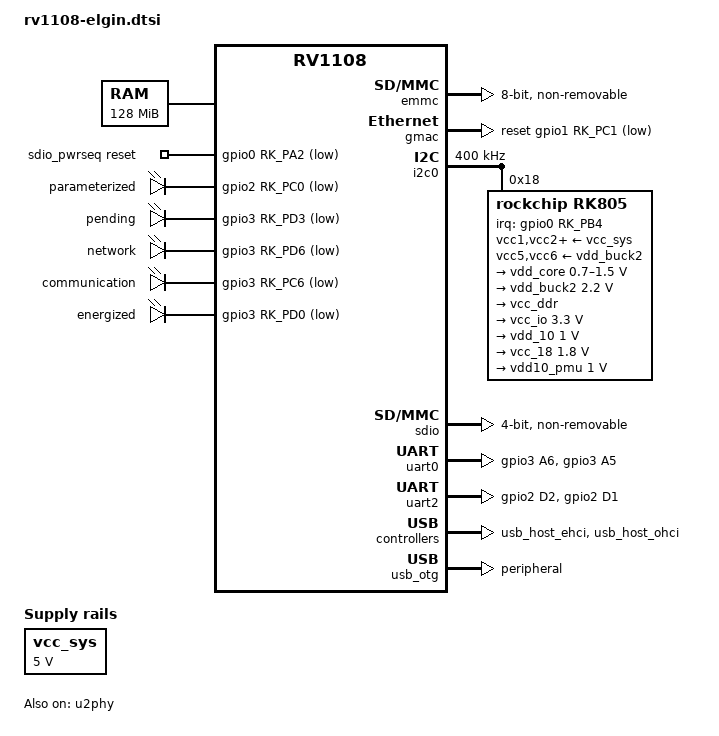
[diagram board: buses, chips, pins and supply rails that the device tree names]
// SPDX-License-Identifier: (GPL-2.0+ OR MIT)

/*
 * Copyright (C) 2018 O.S. Systems Software LTDA.
 */

/dts-v1/;

#include "rv1108.dtsi"

/ {
	memory@60000000 {
		device_type = "memory";
		reg = <0x60000000 0x08000000>;
	};

	aliases {
		mmc0 = &emmc;
		mmc1 = &sdio;
	};

	chosen {
		stdout-path = "serial2:1500000n8";
	};

	vcc_sys: vsys-regulator {
		compatible = "regulator-fixed";
		regulator-name = "vsys";
		regulator-min-microvolt = <5000000>;
		regulator-max-microvolt = <5000000>;
		regulator-boot-on;
	};

	sdio_pwrseq: sdio-pwrseq {
		compatible = "mmc-pwrseq-simple";
		pinctrl-names = "default";
		pinctrl-0 = <&wifi_rst>;
		reset-gpios = <&gpio0 RK_PA2 GPIO_ACTIVE_LOW>;
	};

	leds {
		pinctrl-names = "default";
		pinctrl-0 = <&user_leds>;
		compatible = "gpio-leds";

		led-parameterized {
			label = "parameterized";
			gpios = <&gpio2 RK_PC0 GPIO_ACTIVE_LOW>;
			default-state = "off";
		};

		led-pending {
			label = "pending";
			gpios = <&gpio3 RK_PD3 GPIO_ACTIVE_LOW>;
			default-state = "off";
		};

		led-network {
			label = "network";
			gpios = <&gpio3 RK_PD6 GPIO_ACTIVE_LOW>;
			default-state = "off";
		};

		led-communication {
			label = "communication";
			gpios = <&gpio3 RK_PC6 GPIO_ACTIVE_LOW>;
			default-state = "off";
		};

		led-energized {
			label = "energized";
			gpios = <&gpio3 RK_PD0 GPIO_ACTIVE_LOW>;
			default-state = "off";
		};
	};
};

&cpu0 {
	cpu-supply = <&vdd_core>;
	/delete-property/dynamic-power-coefficient;
	/delete-property/operating-points-v2;
};

&emmc {
	bus-width = <8>;
	cap-mmc-highspeed;
	no-sd;
	no-sdio;
	non-removable;
	mmc-ddr-1_8v;
	mmc-hs200-1_8v;
	pinctrl-names = "default";
	pinctrl-0 = <&emmc_clk &emmc_cmd &emmc_bus8>;
	status = "okay";
};

&gmac {
	clock_in_out = "output";
	pinctrl-names = "default";
	pinctrl-0 = <&rmii_pins>;
	snps,reset-gpio = <&gpio1 RK_PC1 GPIO_ACTIVE_LOW>;
	snps,reset-active-low;
	status = "okay";
};

&gpio0 {
       gpio-line-names = "", "", "WIFI_RST", "", "", "POWER_FAIL", "PMIC_KILL", "",
                       "", "", "", "", "", "", "", "",
                       "", "", "", "", "", "", "", "",
                       "", "", "", "", "", "", "", "";
};

&gpio2 {
       gpio-line-names = "", "", "", "", "", "", "", "",
                       "", "", "", "", "", "", "", "",
                       "", "", "", "MODEM_RST", "",
                       "", "MODEM_PWR", "", "MODEM_STS",
		       "", "", "", "", "", "", "";
};

&gpio3 {
       gpio-line-names = "", "", "", "", "", "", "", "",
                       "", "", "", "", "", "", "", "MODEM_EN",
                       "", "", "RESET_BTN", "", "","", "",
                       "", "", "", "", "", "", "", "", "";
};

&i2c0 {
	clock-frequency = <400000>;
	i2c-scl-rising-time-ns = <275>;
	i2c-scl-falling-time-ns = <16>;
	status = "okay";

	rk805: pmic@18 {
		compatible = "rockchip,rk805";
		reg = <0x18>;
		interrupt-parent = <&gpio0>;
		interrupts = <RK_PB4 IRQ_TYPE_LEVEL_LOW>;
		rockchip,system-power-controller;

		vcc1-supply = <&vcc_sys>;
		vcc2-supply = <&vcc_sys>;
		vcc3-supply = <&vcc_sys>;
		vcc4-supply = <&vcc_sys>;
		vcc5-supply = <&vdd_buck2>;
		vcc6-supply = <&vdd_buck2>;

		regulators {
			vdd_core: DCDC_REG1 {
				regulator-name= "vdd_core";
				regulator-min-microvolt = <700000>;
				regulator-max-microvolt = <1500000>;
				regulator-always-on;
				regulator-boot-on;
				regulator-state-mem {
					regulator-on-in-suspend;
					regulator-suspend-microvolt = <900000>;
				};
			};

			vdd_buck2: DCDC_REG2 {
				regulator-name= "vdd_buck2";
				regulator-min-microvolt = <2200000>;
				regulator-max-microvolt = <2200000>;
				regulator-always-on;
				regulator-boot-on;
				regulator-state-mem {
					regulator-off-in-suspend;
				};
			};

			vcc_ddr: DCDC_REG3 {
				regulator-name= "vcc_ddr";
				regulator-always-on;
				regulator-boot-on;
				regulator-state-mem {
					regulator-on-in-suspend;
				};
			};

			vcc_io: DCDC_REG4 {
				regulator-name= "vcc_io";
				regulator-min-microvolt = <3300000>;
				regulator-max-microvolt = <3300000>;
				regulator-always-on;
				regulator-boot-on;
				regulator-state-mem {
					regulator-on-in-suspend;
					regulator-suspend-microvolt = <3300000>;
				};
			};

			vdd_10: LDO_REG1 {
				regulator-name= "vdd_10";
				regulator-min-microvolt = <1000000>;
				regulator-max-microvolt = <1000000>;
				regulator-always-on;
				regulator-boot-on;
				regulator-state-mem {
					regulator-off-in-suspend;
				};
			};

			vcc_18: LDO_REG2 {
				regulator-name= "vcc_18";
				regulator-min-microvolt = <1800000>;
				regulator-max-microvolt = <1800000>;
				regulator-always-on;
				regulator-boot-on;
				regulator-state-mem {
					regulator-off-in-suspend;
				};
			};

			vdd10_pmu: LDO_REG3 {
				regulator-name= "vdd10_pmu";
				regulator-min-microvolt = <1000000>;
				regulator-max-microvolt = <1000000>;
				regulator-always-on;
				regulator-boot-on;
				regulator-state-mem {
					regulator-on-in-suspend;
					regulator-suspend-microvolt = <1000000>;
				};
			};
		};
	};
};

&sdio {
	bus-width = <4>;
	no-1-8-v;
	cap-sd-highspeed;
	cap-sdio-irq;
	keep-power-in-suspend;
	mmc-pwrseq = <&sdio_pwrseq>;
	non-removable;
	pinctrl-names = "default";
	pinctrl-0 = <&sdio_clk &sdio_cmd &sdio_bus4>;
	sd-uhs-sdr12;
	sd-uhs-sdr25;
	sd-uhs-sdr50;
	sd-uhs-sdr104;
	status = "okay";
};

&u2phy {
	status = "okay";

	u2phy_host: host-port {
		status = "okay";
	};

	u2phy_otg: otg-port {
		status = "okay";
	};
};

&uart0 {
	pinctrl-names = "default";
	pinctrl-0 = <&uart0_xfer_pullup>;
	status = "okay";
};

&uart2 {
	pinctrl-names = "default";
	pinctrl-0 = <&uart2m0_xfer_pullup>;
	status = "okay";
};

&usb_host_ehci {
	status = "okay";
};

&usb_host_ohci {
	status = "okay";
};

&usb_otg {
	dr_mode = "peripheral";
	status = "okay";
};

&pinctrl {
	pinctrl-names = "default";
	pinctrl-0 = <&pin_hog>;

	hog {
		pin_hog: pinhog {
			rockchip,pins = <3 RK_PC4 RK_FUNC_GPIO &pcfg_pull_up_drv_8ma>,
					 <3 RK_PC3 RK_FUNC_GPIO &pcfg_pull_up_drv_8ma>,
					 <3 RK_PC7 RK_FUNC_GPIO &pcfg_pull_up_drv_8ma>;
		};
	};

	uart0 {
		uart0_xfer_pullup: uart0-xfer-pullup {
			rockchip,pins = <3 RK_PA6 1 &pcfg_pull_up_drv_8ma>,
					<3 RK_PA5 1 &pcfg_pull_up_drv_8ma>;
		};
	};

	uart2m0 {
		uart2m0_xfer_pullup: uart2m0-xfer-pullup {
			rockchip,pins = <2 RK_PD2 RK_FUNC_1 &pcfg_pull_up_drv_8ma>,
					<2 RK_PD1 RK_FUNC_1 &pcfg_pull_up_drv_8ma>;
		};
	};

	sdio {
		wifi_rst: wifi-rst {
			rockchip,pins = <0 RK_PA2 RK_FUNC_GPIO &pcfg_pull_up_drv_8ma>;
		};
	};

	leds {
		user_leds: user-leds {
			rockchip,pins = <2 RK_PC0 RK_FUNC_GPIO &pcfg_output_high>,
					<3 RK_PD3 RK_FUNC_GPIO &pcfg_output_high>,
					<3 RK_PD6 RK_FUNC_GPIO &pcfg_output_high>,
					<3 RK_PC6 RK_FUNC_GPIO &pcfg_output_high>,
					<3 RK_PD0 RK_FUNC_GPIO &pcfg_output_high>;
		};
	};
};
